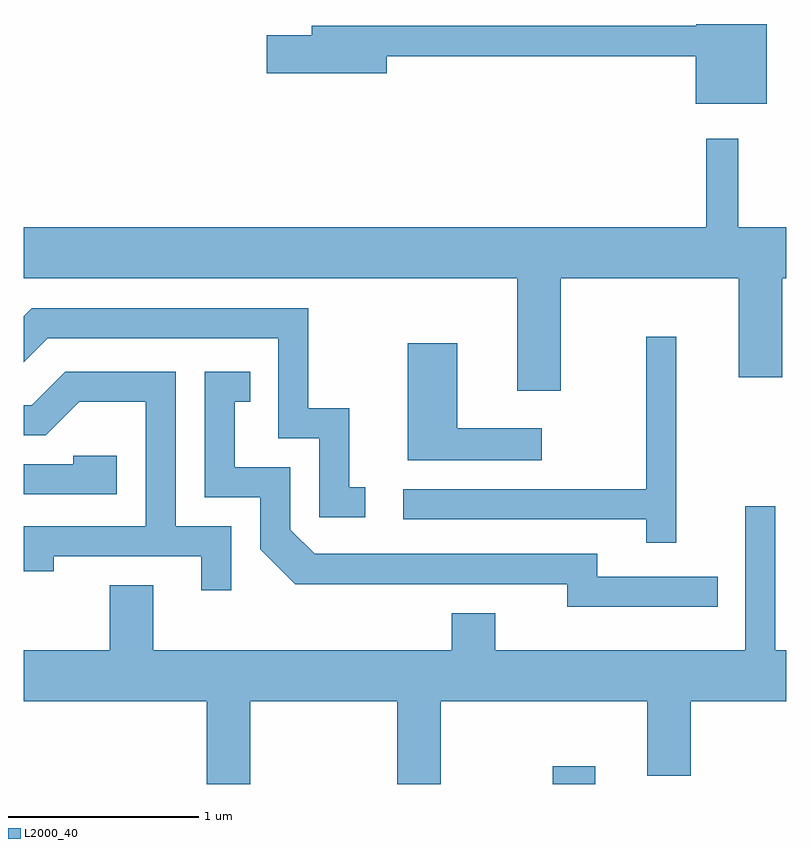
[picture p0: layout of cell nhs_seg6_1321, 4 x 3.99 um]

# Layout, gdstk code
import gdstk
lib = gdstk.Library(unit=1e-6, precision=1e-09)
def R(c, l, rs):  # rectangles x0, y0, x1, y1
    for r in rs: c.add(gdstk.rectangle(r[:2], r[2:], *l))
def P(c, l, *ps):  # polygons
    for p in ps: c.add(gdstk.Polygon(p, *l))
L2000_40 = (2000, 40)

nhs_seg6_1321 = lib.new_cell('nhs_seg6_1321')
R(nhs_seg6_1321, L2000_40, [(226.386,1656.162,226.609,1656.254)])
P(nhs_seg6_1321, L2000_40, [(227.509,1660.149),(227.14,1660.149),(227.14,1660.139),(225.121,1660.139),(225.121,1660.089),(224.886,1660.089),(224.886,1659.891),(225.514,1659.891),(225.514,1659.981),(227.136,1659.981),(227.136,1659.731),(227.509,1659.731)],
  [(226.429,1658.816),(227.361,1658.816),(227.361,1658.296),(227.589,1658.296),(227.589,1658.816),(227.611,1658.816),(227.611,1659.084),(227.359,1659.084),(227.359,1659.548),(227.191,1659.548),(227.191,1659.084),(223.611,1659.084),(223.611,1658.816),(226.201,1658.816),(226.201,1658.226),(226.429,1658.226)],
  [(225.403,1657.719),(225.319,1657.719),(225.319,1658.134),(225.104,1658.134),(225.104,1658.659),(223.654,1658.659),(223.611,1658.616),(223.611,1658.375),(223.737,1658.501),(224.946,1658.501),(224.946,1657.976),(225.161,1657.976),(225.161,1657.561),(225.403,1657.561)],
  [(227.034,1658.508),(226.876,1658.508),(226.876,1657.709),(225.603,1657.709),(225.603,1657.551),(226.876,1657.551),(226.876,1657.428),(227.034,1657.428)],
  [(226.328,1658.029),(225.884,1658.029),(225.884,1658.474),(225.626,1658.474),(225.626,1657.861),(226.328,1657.861)],
  [(227.253,1657.249),(226.619,1657.249),(226.619,1657.369),(225.137,1657.369),(225.009,1657.497),(225.009,1657.824),(224.719,1657.824),(224.719,1658.166),(224.798,1658.166),(224.798,1658.324),(224.561,1658.324),(224.561,1657.666),(224.851,1657.666),(224.851,1657.394),(225.034,1657.211),(226.461,1657.211),(226.461,1657.091),(227.253,1657.091)],
  [(224.699,1657.514),(224.409,1657.514),(224.409,1658.324),(223.829,1658.324),(223.654,1658.149),(223.611,1658.149),(223.611,1657.991),(223.727,1657.991),(223.902,1658.166),(224.251,1658.166),(224.251,1657.514),(223.611,1657.514),(223.611,1657.278),(223.769,1657.278),(223.769,1657.356),(224.541,1657.356),(224.541,1657.178),(224.699,1657.178)],
  [(224.099,1657.884),(223.871,1657.884),(223.871,1657.839),(223.611,1657.839),(223.611,1657.681),(224.099,1657.681)],
  [(224.799,1656.596),(225.571,1656.596),(225.571,1656.162),(225.799,1656.162),(225.799,1656.596),(226.881,1656.596),(226.881,1656.206),(227.109,1656.206),(227.109,1656.596),(227.611,1656.596),(227.611,1656.864),(227.554,1656.864),(227.554,1657.618),(227.396,1657.618),(227.396,1656.864),(226.084,1656.864),(226.084,1657.059),(225.856,1657.059),(225.856,1656.864),(224.289,1656.864),(224.289,1657.204),(224.061,1657.204),(224.061,1656.864),(223.611,1656.864),(223.611,1656.596),(224.571,1656.596),(224.571,1656.162),(224.799,1656.162)])

lib.write_gds('nhs_seg6_1321.gds')
